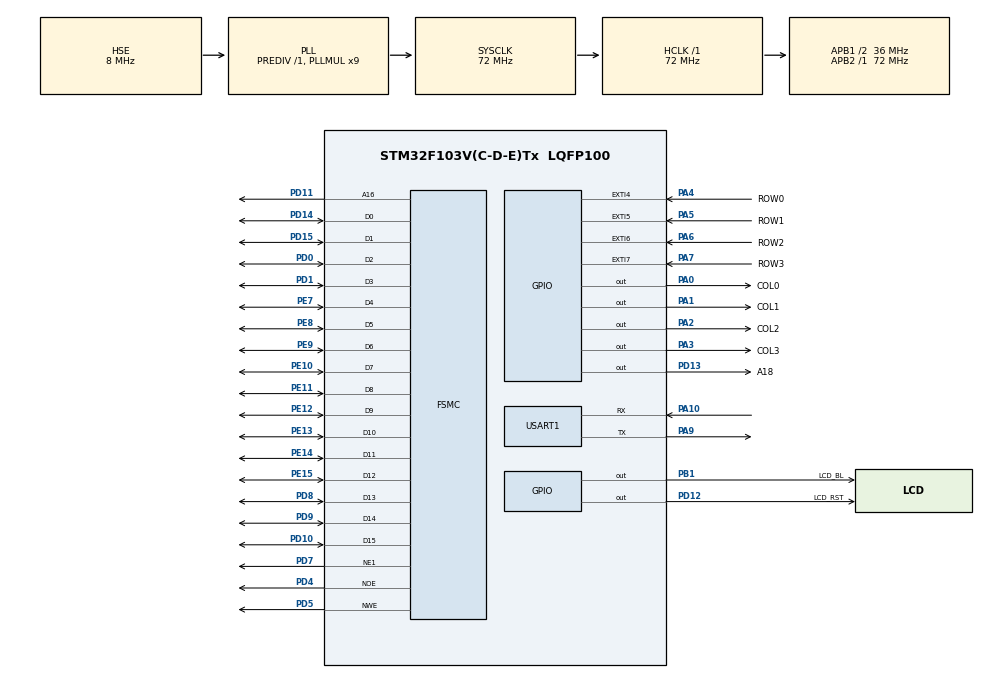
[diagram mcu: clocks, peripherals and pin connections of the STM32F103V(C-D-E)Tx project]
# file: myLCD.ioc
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FREERTOS.Tasks01=defaultTask,24,128,StartDefaultTask,Default,NULL,Dynamic,NULL,NULL
FSMC.AddressSetupTime1=0x02
FSMC.BusTurnAroundDuration1=0x00
FSMC.DataSetupTime1=0x05
Mcu.Family=STM32F1
Mcu.Name=STM32F103V(C-D-E)Tx
Mcu.Package=LQFP100
NVIC.EXTI4_IRQn=true\:5\:0\:false\:false\:true\:true\:true\:true\:true
NVIC.EXTI9_5_IRQn=true\:5\:0\:false\:false\:true\:true\:true\:true\:true
NVIC.FLASH_IRQn=true\:5\:0\:false\:false\:true\:true\:true\:true\:true
NVIC.PVD_IRQn=true\:5\:0\:false\:false\:true\:true\:true\:true\:true
NVIC.PriorityGroup=NVIC_PRIORITYGROUP_4
NVIC.RCC_IRQn=true\:5\:0\:false\:false\:true\:true\:true\:false\:true
NVIC.TIM6_IRQn=true\:15\:0\:false\:false\:true\:false\:false\:true\:true
NVIC.TimeBase=TIM6_IRQn
NVIC.TimeBaseIP=TIM6
NVIC.USART1_IRQn=true\:5\:0\:false\:false\:true\:true\:true\:true\:true
OSC_IN.Mode=HSE-External-Oscillator
OSC_IN.Signal=RCC_OSC_IN
OSC_OUT.Mode=HSE-External-Oscillator
OSC_OUT.Signal=RCC_OSC_OUT
PA0-WKUP.GPIO_Label=COL0
PA0-WKUP.Signal=GPIO_Output
PA1.GPIO_Label=COL1
PA1.Signal=GPIO_Output
PA10.Mode=Asynchronous
PA10.Signal=USART1_RX
PA13.Mode=Serial_Wire
PA13.Signal=SYS_JTMS-SWDIO
PA14.Mode=Serial_Wire
PA14.Signal=SYS_JTCK-SWCLK
PA2.GPIO_Label=COL2
PA2.Signal=GPIO_Output
PA3.GPIO_Label=COL3
PA3.Signal=GPIO_Output
PA4.GPIO_Label=ROW0
PA4.GPIO_PuPd=GPIO_PULLDOWN
PA4.Signal=GPXTI4
PA5.GPIO_Label=ROW1
PA5.GPIO_PuPd=GPIO_PULLDOWN
PA5.Signal=GPXTI5
PA6.GPIO_Label=ROW2
PA6.GPIO_PuPd=GPIO_PULLDOWN
PA6.Signal=GPXTI6
PA7.GPIO_Label=ROW3
PA7.GPIO_PuPd=GPIO_PULLDOWN
PA7.Signal=GPXTI7
PA9.Mode=Asynchronous
PA9.Signal=USART1_TX
PB1.GPIO_Label=LCD_BL
PB1.Signal=GPIO_Output
PD0.Mode=16b-d1
PD0.Signal=FSMC_D2
PD1.Mode=16b-d1
PD1.Signal=FSMC_D3
PD10.Mode=16b-d1
PD10.Signal=FSMC_D15
PD11.Mode=A16_1
PD11.Signal=FSMC_A16
PD12.GPIO_Label=LCD_RST
PD12.Signal=GPIO_Output
PD13.GPIO_Label=A18
PD13.Signal=GPIO_Output
PD14.Mode=16b-d1
PD14.Signal=FSMC_D0
PD15.Mode=16b-d1
PD15.Signal=FSMC_D1
PD4.Mode=Lcd1
PD4.Signal=FSMC_NOE
PD5.Mode=Lcd1
PD5.Signal=FSMC_NWE
PD7.Mode=NorPsramChipSelect1_1
PD7.Signal=FSMC_NE1
PD8.Mode=16b-d1
PD8.Signal=FSMC_D13
PD9.Mode=16b-d1
PD9.Signal=FSMC_D14
PE10.Mode=16b-d1
PE10.Signal=FSMC_D7
PE11.Mode=16b-d1
PE11.Signal=FSMC_D8
PE12.Mode=16b-d1
PE12.Signal=FSMC_D9
PE13.Mode=16b-d1
PE13.Signal=FSMC_D10
PE14.Mode=16b-d1
PE14.Signal=FSMC_D11
PE15.Mode=16b-d1
PE15.Signal=FSMC_D12
PE7.Mode=16b-d1
PE7.Signal=FSMC_D4
PE8.Mode=16b-d1
PE8.Signal=FSMC_D5
PE9.Mode=16b-d1
PE9.Signal=FSMC_D6
ProjectManager.HeapSize=0x200
ProjectManager.StackSize=0x400
ProjectManager.TargetToolchain=MDK-ARM V5.32
RCC.AHBFreq_Value=72000000
RCC.APB1CLKDivider=RCC_HCLK_DIV2
RCC.APB1Freq_Value=36000000
RCC.APB1TimFreq_Value=72000000
RCC.APB2Freq_Value=72000000
RCC.APB2TimFreq_Value=72000000
RCC.HCLKFreq_Value=72000000
RCC.PLLMUL=RCC_PLL_MUL9
RCC.PLLSourceVirtual=RCC_PLLSOURCE_HSE
RCC.SYSCLKFreq_VALUE=72000000
RCC.SYSCLKSource=RCC_SYSCLKSOURCE_PLLCLK
RCC.USBFreq_Value=72000000
USART1.VirtualMode=VM_ASYNC
VP_FREERTOS_VS_CMSIS_V2.Mode=CMSIS_V2
VP_SYS_VS_tim6.Mode=TIM6
board=custom

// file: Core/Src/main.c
/* USER CODE BEGIN Header */
/**
  ******************************************************************************
  * @file           : main.c
  * @brief          : Main program body
  ******************************************************************************
  * @attention
  *
  * Copyright (c) 2024 STMicroelectronics.
  * All rights reserved.
  *
  * This software is licensed under terms that can be found in the LICENSE file
  * in the root directory of this software component.
  * If no LICENSE file comes with this software, it is provided AS-IS.
  *
  ******************************************************************************
  */
/* USER CODE END Header */
#include "main.h"
#include "cmsis_os.h"
#include "usart.h"
#include "gpio.h"
#include "fsmc.h"

/* USER CODE BEGIN Includes */
#include "stm3210x_lcd.h"
#include "stdio.h"
/* USER CODE END Includes */

void SystemClock_Config(void);
void MX_FREERTOS_Init(void);

int main(void)
{

  /* MCU Configuration--------------------------------------------------------*/

  /* Reset of all peripherals, Initializes the Flash interface and the Systick. */
  HAL_Init();

  /* Configure the system clock */
  SystemClock_Config();

  /* Initialize all configured peripherals */
  MX_GPIO_Init();
  MX_FSMC_Init();
  MX_USART1_UART_Init();
  /* USER CODE BEGIN 2 */
 BSP_LCD_Init();
BSP_LCD_SetFont(&Font16);
BSP_LCD_SetBackColor(LCD_COLOR_BLUE);
BSP_LCD_SetTextColor(LCD_COLOR_WHITE);
BSP_LCD_Clear(LCD_COLOR_BLUE);

printf("x size is %d\r\n", BSP_LCD_GetXSize());
printf("y size is %d\r\n", BSP_LCD_GetYSize());

BSP_LCD_DisplayStringAtLine(0, (uint8_t *)"Elevator System");

  /* USER CODE END 2 */

  /* Init scheduler */
  osKernelInitialize();

  /* Call init function for freertos objects (in freertos.c) */
  MX_FREERTOS_Init();

  /* Start scheduler */
  osKernelStart();

  /* We should never get here as control is now taken by the scheduler */
  /* Infinite loop */
  /* USER CODE BEGIN WHILE */
  while (1)
  {

    BSP_LCD_DisplayStringAt(0,100,"Waveshare Open103 test",CENTER_MODE);
//		HAL_Delay(1000);
//		BSP_LCD_Clear(LCD_COLOR_RED);
		BSP_LCD_DisplayStringAt(0,120,"3.2inch LCD",CENTER_MODE);
		HAL_Delay(1000);
		BSP_LCD_Clear(LCD_COLOR_BLUE);

    /* USER CODE END WHILE */

  }
}

void SystemClock_Config(void)
{
  RCC_OscInitTypeDef RCC_OscInitStruct = {0};
  RCC_ClkInitTypeDef RCC_ClkInitStruct = {0};

  /** Initializes the RCC Oscillators according to the specified parameters
  * in the RCC_OscInitTypeDef structure.
  */
  RCC_OscInitStruct.OscillatorType = RCC_OSCILLATORTYPE_HSE;
  RCC_OscInitStruct.HSEState = RCC_HSE_ON;
  RCC_OscInitStruct.HSEPredivValue = RCC_HSE_PREDIV_DIV1;
  RCC_OscInitStruct.HSIState = RCC_HSI_ON;
  RCC_OscInitStruct.PLL.PLLState = RCC_PLL_ON;
  RCC_OscInitStruct.PLL.PLLSource = RCC_PLLSOURCE_HSE;
  RCC_OscInitStruct.PLL.PLLMUL = RCC_PLL_MUL9;
  if (HAL_RCC_OscConfig(&RCC_OscInitStruct) != HAL_OK)
  {
    Error_Handler();
  }

  /** Initializes the CPU, AHB and APB buses clocks
  */
  RCC_ClkInitStruct.ClockType = RCC_CLOCKTYPE_HCLK|RCC_CLOCKTYPE_SYSCLK
                              |RCC_CLOCKTYPE_PCLK1|RCC_CLOCKTYPE_PCLK2;
  RCC_ClkInitStruct.SYSCLKSource = RCC_SYSCLKSOURCE_PLLCLK;
  RCC_ClkInitStruct.AHBCLKDivider = RCC_SYSCLK_DIV1;
  RCC_ClkInitStruct.APB1CLKDivider = RCC_HCLK_DIV2;
  RCC_ClkInitStruct.APB2CLKDivider = RCC_HCLK_DIV1;

  if (HAL_RCC_ClockConfig(&RCC_ClkInitStruct, FLASH_LATENCY_2) != HAL_OK)
  {
    Error_Handler();
  }
}

void HAL_TIM_PeriodElapsedCallback(TIM_HandleTypeDef *htim)
{
  if (htim->Instance == TIM6) {
    HAL_IncTick();
  }
}

void Error_Handler(void)
{
  __disable_irq();
  while (1)
  {
  }
}

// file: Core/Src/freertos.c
/* USER CODE BEGIN Header */
/**
  ******************************************************************************
  * File Name          : freertos.c
  * Description        : Code for FreeRTOS applications
  ******************************************************************************
  */
/* USER CODE END Header */

#include "FreeRTOS.h"
#include "task.h"
#include "main.h"
#include "cmsis_os.h"

/* USER CODE BEGIN Includes */
#include "queue.h"
#include "semphr.h"
#include "usart.h"
#include "gpio.h"
#include <stdio.h>
#include <stdarg.h>
#include <string.h>

#include "stm3210x_lcd.h"

/* USER CODE END Includes */

/* USER CODE BEGIN PTD */

typedef enum
{
    REQ_INTERNAL = 0,       /* 轿厢内部按键：1~4 */
    REQ_EXTERNAL_UP,        /* 外部上行呼叫：1U、2U、3U */
    REQ_EXTERNAL_DOWN       /* 外部下行呼叫：2D、3D、4D */
} RequestType_t;

typedef enum
{
    DIR_DOWN = -1,
    DIR_IDLE = 0,
    DIR_UP = 1
} ElevatorDir_t;

typedef enum
{
    DOOR_CLOSED = 0,
    DOOR_OPEN
} DoorState_t;

typedef struct
{
    uint8_t floor;          /* 1~4 */
    RequestType_t type;
} RequestMsg_t;

typedef struct
{
    uint8_t currentFloor;   /* 当前楼层：1~4 */
    ElevatorDir_t dir;      /* 当前方向 */
    DoorState_t door;       /* 门状态 */

    uint8_t insideReq[5];   /* 内部目标楼层请求 */
    uint8_t upReq[5];       /* 外部上行请求 */
    uint8_t downReq[5];     /* 外部下行请求 */

    uint32_t servedCount;   /* 已服务次数 */
} ElevatorState_t;

/* USER CODE END PTD */

/* USER CODE BEGIN PD */

#define REQUEST_QUEUE_LEN      16
#define UART_RX_QUEUE_LEN      32

#define ELEVATOR_MOVE_TIME_MS  3000
#define DOOR_OPEN_TIME_MS      4000
#define DISPLAY_PERIOD_MS      2000
#define KEY_DEBOUNCE_MS        20
#define KEY_RELEASE_MS         20

/* LCD UI RGB565 colors */
#define UI_BG          ((uint16_t)0x0841)   /* dark blue-gray */
#define UI_HEADER      ((uint16_t)0x001F)   /* blue */
#define UI_PANEL       ((uint16_t)0x2104)   /* dark panel */
#define UI_PANEL2      ((uint16_t)0x3186)
#define UI_WHITE       ((uint16_t)0xFFFF)
#define UI_BLACK       ((uint16_t)0x0000)
#define UI_GREEN       ((uint16_t)0x07E0)
#define UI_RED         ((uint16_t)0xF800)
#define UI_YELLOW      ((uint16_t)0xFFE0)
#define UI_CYAN        ((uint16_t)0x07FF)
#define UI_ORANGE      ((uint16_t)0xFD20)
#define UI_GRAY        ((uint16_t)0x8410)
#define UI_PURPLE      ((uint16_t)0x780F)

/* USER CODE END PD */

/* USER CODE BEGIN Variables */

static TaskHandle_t elevatorTaskHandle  = NULL;
static TaskHandle_t displayTaskHandle   = NULL;
static TaskHandle_t keyTaskHandle       = NULL;
static TaskHandle_t uartParseTaskHandle = NULL;

static QueueHandle_t requestQueueHandle = NULL;  /* 按键/串口解析后的电梯请求 */
static QueueHandle_t uartRxQueueHandle  = NULL;  /* USART1 中断收到的原始字节 */

static SemaphoreHandle_t stateMutexHandle = NULL;
static SemaphoreHandle_t uartMutexHandle  = NULL;

static ElevatorState_t gElevator =
{
    .currentFloor = 1,
    .dir = DIR_IDLE,
    .door = DOOR_CLOSED,
    .insideReq = {0},
    .upReq = {0},
    .downReq = {0},
    .servedCount = 0
};

static uint8_t uartRxByte = 0;
static volatile uint8_t keyScanning = 0;

/* USER CODE END Variables */

/* USER CODE BEGIN FunctionPrototypes */

static void ElevatorTask(void *argument);
static void DisplayTask(void *argument);
static void KeyTask(void *argument);
static void UartParseTask(void *argument);

static void UartPrintf(const char *fmt, ...);

static void Keypad_AllColumnsHigh(void);
static void Keypad_AllColumnsLow(void);
static uint8_t Keypad_Scan(void);
static uint8_t Keypad_AnyRowHigh(void);

static void Elevator_ProcessNewRequests(TickType_t waitTicks);
static void Elevator_AddRequest(const RequestMsg_t *msg);
static void Elevator_DelayWithInput(uint32_t ms);
static void Elevator_OpenDoorAndServe(void);
static void Elevator_MoveOneFloor(ElevatorDir_t dir);

static uint8_t Elevator_HasAnyRequestLocked(void);
static uint8_t Elevator_HasRequestAboveLocked(void);
static uint8_t Elevator_HasRequestBelowLocked(void);
static uint8_t Elevator_FloorHasAnyRequestLocked(uint8_t floor);
static uint8_t Elevator_NeedStopAtCurrentFloorLocked(void);
static void Elevator_DecideDirectionLocked(void);

static const char *DirToStr(ElevatorDir_t dir);
static const char *DoorToStr(DoorState_t door);
static const char *ReqTypeToStr(RequestType_t type);
static void Display_PrintState(void);

/* USER CODE END FunctionPrototypes */

void MX_FREERTOS_Init(void);

void MX_FREERTOS_Init(void)
{
  /* USER CODE BEGIN Init */

    BaseType_t ret;

    requestQueueHandle = xQueueCreate(REQUEST_QUEUE_LEN, sizeof(RequestMsg_t));
    uartRxQueueHandle  = xQueueCreate(UART_RX_QUEUE_LEN, sizeof(uint8_t));

    stateMutexHandle = xSemaphoreCreateMutex();
    uartMutexHandle  = xSemaphoreCreateMutex();

    if (requestQueueHandle == NULL)
        printf("requestQueue create FAIL\r\n");
    else
        printf("requestQueue create OK\r\n");

    if (uartRxQueueHandle == NULL)
        printf("uartRxQueue create FAIL\r\n");
    else
        printf("uartRxQueue create OK\r\n");

    if (stateMutexHandle == NULL)
        printf("stateMutex create FAIL\r\n");
    else
        printf("stateMutex create OK\r\n");

    if (uartMutexHandle == NULL)
        printf("uartMutex create FAIL\r\n");
    else
        printf("uartMutex create OK\r\n");

    Keypad_AllColumnsHigh();

    ret = xTaskCreate(ElevatorTask,
                      "Elevator",
                      384,
                      NULL,
                      tskIDLE_PRIORITY + 3,
                      &elevatorTaskHandle);

    if (ret == pdPASS)
        printf("ElevatorTask create OK\r\n");
    else
        printf("ElevatorTask create FAIL\r\n");

    ret = xTaskCreate(UartParseTask,
                      "UartParse",
                      256,
                      NULL,
                      tskIDLE_PRIORITY + 2,
                      &uartParseTaskHandle);

    if (ret == pdPASS)
        printf("UartParseTask create OK\r\n");
    else
        printf("UartParseTask create FAIL\r\n");

    ret = xTaskCreate(KeyTask,
                      "KeyInput",
                      256,
                      NULL,
                      tskIDLE_PRIORITY + 2,
                      &keyTaskHandle);

    if (ret == pdPASS)
        printf("KeyTask create OK\r\n");
    else
        printf("KeyTask create FAIL\r\n");

    ret = xTaskCreate(DisplayTask,
                      "Display",
                      512,
                      NULL,
                      tskIDLE_PRIORITY + 1,
                      &displayTaskHandle);

    if (ret == pdPASS)
        printf("DisplayTask create OK\r\n");
    else
        printf("DisplayTask create FAIL\r\n");

    if (HAL_UART_Receive_IT(&huart1, &uartRxByte, 1) == HAL_OK)
    {
        printf("USART1 RX interrupt start OK\r\n");
    }
    else
    {
        printf("USART1 RX interrupt start ERROR\r\n");
    }

  /* USER CODE END Init */
}

/* USER CODE BEGIN Application */

/* ========================= 基础打印函数 ========================= */

static void UartPrintf(const char *fmt, ...)
{
    va_list args;

    if (uartMutexHandle != NULL)
    {
        xSemaphoreTake(uartMutexHandle, portMAX_DELAY);
    }

    va_start(args, fmt);
    vprintf(fmt, args);
    va_end(args);

    if (uartMutexHandle != NULL)
    {
        xSemaphoreGive(uartMutexHandle);
    }
}

static const char *DirToStr(ElevatorDir_t dir)
{
    switch (dir)
    {
        case DIR_UP:   return "UP";
        case DIR_DOWN: return "DOWN";
        default:       return "IDLE";
    }
}

static const char *DoorToStr(DoorState_t door)
{
    return (door == DOOR_OPEN) ? "OPEN" : "CLOSED";
}

static const char *ReqTypeToStr(RequestType_t type)
{
    switch (type)
    {
        case REQ_INTERNAL:      return "IN";
        case REQ_EXTERNAL_UP:   return "UP";
        case REQ_EXTERNAL_DOWN: return "DOWN";
        default:                return "UNKNOWN";
    }
}

/* ========================= 矩阵键盘部分 ========================= */

static void Keypad_AllColumnsHigh(void)
{
    HAL_GPIO_WritePin(COL0_GPIO_Port, COL0_Pin, GPIO_PIN_SET);
    HAL_GPIO_WritePin(COL1_GPIO_Port, COL1_Pin, GPIO_PIN_SET);
    HAL_GPIO_WritePin(COL2_GPIO_Port, COL2_Pin, GPIO_PIN_SET);
    HAL_GPIO_WritePin(COL3_GPIO_Port, COL3_Pin, GPIO_PIN_SET);
}

static void Keypad_AllColumnsLow(void)
{
    HAL_GPIO_WritePin(COL0_GPIO_Port, COL0_Pin, GPIO_PIN_RESET);
    HAL_GPIO_WritePin(COL1_GPIO_Port, COL1_Pin, GPIO_PIN_RESET);
    HAL_GPIO_WritePin(COL2_GPIO_Port, COL2_Pin, GPIO_PIN_RESET);
    HAL_GPIO_WritePin(COL3_GPIO_Port, COL3_Pin, GPIO_PIN_RESET);
}

static void Keypad_SetColumn(uint8_t col, GPIO_PinState state)
{
    switch (col)
    {
        case 0: HAL_GPIO_WritePin(COL0_GPIO_Port, COL0_Pin, state); break;
        case 1: HAL_GPIO_WritePin(COL1_GPIO_Port, COL1_Pin, state); break;
        case 2: HAL_GPIO_WritePin(COL2_GPIO_Port, COL2_Pin, state); break;
        case 3: HAL_GPIO_WritePin(COL3_GPIO_Port, COL3_Pin, state); break;
        default: break;
    }
}

static uint8_t Keypad_ReadRow(uint8_t row)
{
    switch (row)
    {
        case 0: return (HAL_GPIO_ReadPin(ROW0_GPIO_Port, ROW0_Pin) == GPIO_PIN_SET);
        case 1: return (HAL_GPIO_ReadPin(ROW1_GPIO_Port, ROW1_Pin) == GPIO_PIN_SET);
        case 2: return (HAL_GPIO_ReadPin(ROW2_GPIO_Port, ROW2_Pin) == GPIO_PIN_SET);
        case 3: return (HAL_GPIO_ReadPin(ROW3_GPIO_Port, ROW3_Pin) == GPIO_PIN_SET);
        default: return 0;
    }
}

static uint8_t Keypad_AnyRowHigh(void)
{
    if (HAL_GPIO_ReadPin(ROW0_GPIO_Port, ROW0_Pin) == GPIO_PIN_SET) return 1;
    if (HAL_GPIO_ReadPin(ROW1_GPIO_Port, ROW1_Pin) == GPIO_PIN_SET) return 1;
    if (HAL_GPIO_ReadPin(ROW2_GPIO_Port, ROW2_Pin) == GPIO_PIN_SET) return 1;
    if (HAL_GPIO_ReadPin(ROW3_GPIO_Port, ROW3_Pin) == GPIO_PIN_SET) return 1;
    return 0;
}

static uint8_t Keypad_Scan(void)
{
    static const uint8_t keyMap[4][4] =
    {
        {1, 2, 3, 10},
        {4, 5, 6, 11},
        {7, 8, 9, 12},
        {14, 0, 15, 13}
    };

    uint8_t row;
    uint8_t col;
    uint8_t key = 0;

    keyScanning = 1;

    Keypad_AllColumnsLow();

    for (col = 0; col < 4; col++)
    {
        Keypad_SetColumn(col, GPIO_PIN_SET);

        for (volatile uint32_t d = 0; d < 2000; d++)
        {
            __NOP();
        }

        for (row = 0; row < 4; row++)
        {
            if (Keypad_ReadRow(row))
            {
                key = keyMap[row][col];
                goto scan_end;
            }
        }

        Keypad_SetColumn(col, GPIO_PIN_RESET);
    }

scan_end:
    Keypad_AllColumnsHigh();
    keyScanning = 0;

    return key;
}

/* ========================= 请求处理部分 ========================= */

static void Elevator_AddRequest(const RequestMsg_t *msg)
{
    uint8_t valid = 1;

    if (msg == NULL)
    {
        return;
    }

    if (msg->floor < 1 || msg->floor > 4)
    {
        valid = 0;
    }

    if (msg->type == REQ_EXTERNAL_DOWN && msg->floor == 1)
    {
        valid = 0;
    }

    if (msg->type == REQ_EXTERNAL_UP && msg->floor == 4)
    {
        valid = 0;
    }

    if (valid == 0)
    {
        UartPrintf("[INVALID] floor=%d type=%s\r\n",
                   msg->floor,
                   ReqTypeToStr(msg->type));
        return;
    }

    xSemaphoreTake(stateMutexHandle, portMAX_DELAY);

    if (msg->type == REQ_INTERNAL)
    {
        gElevator.insideReq[msg->floor] = 1;
    }
    else if (msg->type == REQ_EXTERNAL_UP)
    {
        gElevator.upReq[msg->floor] = 1;
    }
    else if (msg->type == REQ_EXTERNAL_DOWN)
    {
        gElevator.downReq[msg->floor] = 1;
    }

    xSemaphoreGive(stateMutexHandle);

    UartPrintf("[REQUEST] floor=%d type=%s\r\n",
               msg->floor,
               ReqTypeToStr(msg->type));
}

static void Elevator_ProcessNewRequests(TickType_t waitTicks)
{
    RequestMsg_t msg;

    if (requestQueueHandle == NULL)
    {
        return;
    }

    if (xQueueReceive(requestQueueHandle, &msg, waitTicks) == pdPASS)
    {
        Elevator_AddRequest(&msg);

        while (xQueueReceive(requestQueueHandle, &msg, 0) == pdPASS)
        {
            Elevator_AddRequest(&msg);
        }
    }
}

static uint8_t Elevator_FloorHasAnyRequestLocked(uint8_t floor)
{
    if (floor < 1 || floor > 4)
    {
        return 0;
    }

    if (gElevator.insideReq[floor]) return 1;
    if (gElevator.upReq[floor])     return 1;
    if (gElevator.downReq[floor])   return 1;

    return 0;
}

static uint8_t Elevator_HasAnyRequestLocked(void)
{
    uint8_t i;

    for (i = 1; i <= 4; i++)
    {
        if (Elevator_FloorHasAnyRequestLocked(i))
        {
            return 1;
        }
    }

    return 0;
}

static uint8_t Elevator_HasRequestAboveLocked(void)
{
    uint8_t i;

    for (i = gElevator.currentFloor + 1; i <= 4; i++)
    {
        if (Elevator_FloorHasAnyRequestLocked(i))
        {
            return 1;
        }
    }

    return 0;
}

static uint8_t Elevator_HasRequestBelowLocked(void)
{
    int8_t i;

    for (i = (int8_t)gElevator.currentFloor - 1; i >= 1; i--)
    {
        if (Elevator_FloorHasAnyRequestLocked((uint8_t)i))
        {
            return 1;
        }
    }

    return 0;
}

static uint8_t Elevator_NeedStopAtCurrentFloorLocked(void)
{
    uint8_t f = gElevator.currentFloor;

    if (gElevator.insideReq[f])
    {
        return 1;
    }

    if (gElevator.dir == DIR_IDLE)
    {
        return Elevator_FloorHasAnyRequestLocked(f);
    }

    if (gElevator.dir == DIR_UP)
    {
        if (gElevator.upReq[f])
        {
            return 1;
        }

        if (!Elevator_HasRequestAboveLocked() && gElevator.downReq[f])
        {
            return 1;
        }
    }

    if (gElevator.dir == DIR_DOWN)
    {
        if (gElevator.downReq[f])
        {
            return 1;
        }

        if (!Elevator_HasRequestBelowLocked() && gElevator.upReq[f])
        {
            return 1;
        }
    }

    return 0;
}

static void Elevator_DecideDirectionLocked(void)
{
    if (!Elevator_HasAnyRequestLocked())
    {
        gElevator.dir = DIR_IDLE;
        return;
    }

    if (gElevator.dir == DIR_IDLE)
    {
        if (Elevator_FloorHasAnyRequestLocked(gElevator.currentFloor))
        {
            gElevator.dir = DIR_IDLE;
        }
        else if (Elevator_HasRequestAboveLocked())
        {
            gElevator.dir = DIR_UP;
        }
        else if (Elevator_HasRequestBelowLocked())
        {
            gElevator.dir = DIR_DOWN;
        }
        return;
    }

    if (gElevator.dir == DIR_UP)
    {
        if (Elevator_HasRequestAboveLocked())
        {
            gElevator.dir = DIR_UP;
        }
        else if (Elevator_FloorHasAnyRequestLocked(gElevator.currentFloor))
        {
            gElevator.dir = DIR_UP;
        }
        else if (Elevator_HasRequestBelowLocked())
        {
            gElevator.dir = DIR_DOWN;
        }
        else
        {
            gElevator.dir = DIR_IDLE;
        }
        return;
    }

    if (gElevator.dir == DIR_DOWN)
    {
        if (Elevator_HasRequestBelowLocked())
        {
            gElevator.dir = DIR_DOWN;
        }
        else if (Elevator_FloorHasAnyRequestLocked(gElevator.currentFloor))
        {
            gElevator.dir = DIR_DOWN;
        }
        else if (Elevator_HasRequestAboveLocked())
        {
            gElevator.dir = DIR_UP;
        }
        else
        {
            gElevator.dir = DIR_IDLE;
        }
        return;
    }
}

static void Elevator_DelayWithInput(uint32_t ms)
{
    uint32_t elapsed = 0;
    const uint32_t step = 50;

    while (elapsed < ms)
    {
        uint32_t delay = step;

        if ((ms - elapsed) < step)
        {
            delay = ms - elapsed;
        }

        vTaskDelay(pdMS_TO_TICKS(delay));
        elapsed += delay;

        Elevator_ProcessNewRequests(0);
    }
}

static void Elevator_OpenDoorAndServe(void)
{
    uint8_t f;

    xSemaphoreTake(stateMutexHandle, portMAX_DELAY);

    f = gElevator.currentFloor;
    gElevator.door = DOOR_OPEN;

    gElevator.insideReq[f] = 0;
    gElevator.upReq[f] = 0;
    gElevator.downReq[f] = 0;

    gElevator.servedCount++;

    xSemaphoreGive(stateMutexHandle);

    UartPrintf("[ARRIVE] floor=%d, door open 2s\r\n", f);

    Elevator_DelayWithInput(DOOR_OPEN_TIME_MS);

    xSemaphoreTake(stateMutexHandle, portMAX_DELAY);
    gElevator.door = DOOR_CLOSED;
    xSemaphoreGive(stateMutexHandle);

    UartPrintf("[DOOR] floor=%d, door closed\r\n", f);
}

static void Elevator_MoveOneFloor(ElevatorDir_t dir)
{
    uint8_t fromFloor;
    uint8_t toFloor;

    xSemaphoreTake(stateMutexHandle, portMAX_DELAY);

    fromFloor = gElevator.currentFloor;

    if (dir == DIR_UP && gElevator.currentFloor < 4)
    {
        toFloor = gElevator.currentFloor + 1;
        gElevator.dir = DIR_UP;
    }
    else if (dir == DIR_DOWN && gElevator.currentFloor > 1)
    {
        toFloor = gElevator.currentFloor - 1;
        gElevator.dir = DIR_DOWN;
    }
    else
    {
        gElevator.dir = DIR_IDLE;
        xSemaphoreGive(stateMutexHandle);
        return;
    }

    xSemaphoreGive(stateMutexHandle);

    UartPrintf("[MOVE] %dF -> %dF, dir=%s\r\n",
               fromFloor,
               toFloor,
               DirToStr(dir));

    Elevator_DelayWithInput(ELEVATOR_MOVE_TIME_MS);

    xSemaphoreTake(stateMutexHandle, portMAX_DELAY);
    gElevator.currentFloor = toFloor;
    xSemaphoreGive(stateMutexHandle);
}

/* ========================= 任务函数 ========================= */

static void ElevatorTask(void *argument)
{
    ElevatorDir_t dir;
    uint8_t hasAny;

    UartPrintf("\r\n========== Elevator FreeRTOS Demo ==========\r\n");
    UartPrintf("Internal key: press 1~4 on keypad\r\n");
    UartPrintf("External call: send ASCII 1U, 2U, 2D, 3U, 3D, 4D\r\n");
    UartPrintf("USART: 115200, 8N1, no HEX mode\r\n");
    UartPrintf("Start at 1F, door closed\r\n");
    UartPrintf("===========================================\r\n\r\n");

    for (;;)
    {
        Elevator_ProcessNewRequests(0);

        xSemaphoreTake(stateMutexHandle, portMAX_DELAY);

        if (Elevator_NeedStopAtCurrentFloorLocked())
        {
            xSemaphoreGive(stateMutexHandle);
            Elevator_OpenDoorAndServe();
            continue;
        }

        Elevator_DecideDirectionLocked();

        dir = gElevator.dir;
        hasAny = Elevator_HasAnyRequestLocked();

        xSemaphoreGive(stateMutexHandle);

        if (!hasAny || dir == DIR_IDLE)
        {
            Elevator_ProcessNewRequests(pdMS_TO_TICKS(100));
            continue;
        }

        Elevator_MoveOneFloor(dir);
    }
}

static void DisplayTask(void *argument)
{
    for (;;)
    {
        Display_PrintState();
        vTaskDelay(pdMS_TO_TICKS(DISPLAY_PERIOD_MS));
    }
}

static void KeyTask(void *argument)
{
    uint8_t key;
    RequestMsg_t msg;

    for (;;)
    {
        ulTaskNotifyTake(pdTRUE, portMAX_DELAY);

        vTaskDelay(pdMS_TO_TICKS(KEY_DEBOUNCE_MS));

        key = Keypad_Scan();

        if (key >= 1 && key <= 4)
        {
            msg.floor = key;
            msg.type = REQ_INTERNAL;

            xQueueSend(requestQueueHandle, &msg, portMAX_DELAY);
        }

        while (Keypad_AnyRowHigh())
        {
            vTaskDelay(pdMS_TO_TICKS(KEY_RELEASE_MS));
        }

        while (ulTaskNotifyTake(pdTRUE, 0) > 0)
        {
            ;
        }
    }
}

static void UartParseTask(void *argument)
{
    uint8_t ch;
    uint8_t floor = 0;
    RequestMsg_t msg;

    for (;;)
    {
        if (xQueueReceive(uartRxQueueHandle, &ch, portMAX_DELAY) != pdPASS)
        {
            continue;
        }

        if (ch >= 'a' && ch <= 'z')
        {
            ch = ch - 'a' + 'A';
        }

        if (ch == '\r' || ch == '\n' || ch == ' ')
        {
            continue;
        }

        if (floor == 0)
        {
            if (ch >= '1' && ch <= '4')
            {
                floor = ch - '0';
            }
            else
            {
                UartPrintf("[UART] invalid floor char: %c\r\n", ch);
            }
        }
        else
        {
            if (ch == 'U')
            {
                msg.floor = floor;
                msg.type = REQ_EXTERNAL_UP;
                xQueueSend(requestQueueHandle, &msg, portMAX_DELAY);
            }
            else if (ch == 'D')
            {
                msg.floor = floor;
                msg.type = REQ_EXTERNAL_DOWN;
                xQueueSend(requestQueueHandle, &msg, portMAX_DELAY);
            }
            else
            {
                UartPrintf("[UART] invalid direction char: %c\r\n", ch);
            }

            floor = 0;
        }
    }
}

/* ========================= 状态显示 ========================= */

static void PrintReqArray(const char *name, const uint8_t req[5])
{
    uint8_t i;
    uint8_t empty = 1;

    printf("%s:", name);

    for (i = 1; i <= 4; i++)
    {
        if (req[i])
        {
            printf(" %dF", i);
            empty = 0;
        }
    }

    if (empty)
    {
        printf(" none");
    }
}

static void LCD_FillArea(uint16_t x, uint16_t y, uint16_t w, uint16_t h, uint16_t color)
{
    BSP_LCD_SetTextColor(color);
    BSP_LCD_FillRect(x, y, w, h);
}

static void LCD_ShowText(uint16_t x,
                         uint16_t y,
                         sFONT *font,
                         uint16_t textColor,
                         uint16_t backColor,
                         const char *text)
{
    BSP_LCD_SetFont(font);
    BSP_LCD_SetTextColor(textColor);
    BSP_LCD_SetBackColor(backColor);
    BSP_LCD_DisplayStringAt(x, y, (uint8_t *)text, LEFT_MODE);
}

static void LCD_ShowTextCenter(uint16_t x,
                               uint16_t y,
                               uint16_t w,
                               sFONT *font,
                               uint16_t textColor,
                               uint16_t backColor,
                               const char *text)
{
    uint16_t textWidth;
    uint16_t xpos;

    BSP_LCD_SetFont(font);

    textWidth = strlen(text) * font->Width;

    if (w > textWidth)
        xpos = x + (w - textWidth) / 2;
    else
        xpos = x;

    BSP_LCD_SetTextColor(textColor);
    BSP_LCD_SetBackColor(backColor);
    BSP_LCD_DisplayStringAt(xpos, y, (uint8_t *)text, LEFT_MODE);
}

static void LCD_DrawBox(uint16_t x,
                        uint16_t y,
                        uint16_t w,
                        uint16_t h,
                        uint16_t bgColor,
                        uint16_t borderColor)
{
    LCD_FillArea(x, y, w, h, bgColor);

    BSP_LCD_SetTextColor(borderColor);
    BSP_LCD_DrawRect(x, y, w, h);
}

static void LCD_DrawBaseUI(void)
{
    BSP_LCD_SetFont(&Font16);
    BSP_LCD_SetBackColor(UI_BG);
    BSP_LCD_SetTextColor(UI_WHITE);
    BSP_LCD_Clear(UI_BG);

    /* Header */
    LCD_FillArea(0, 0, 320, 30, UI_HEADER);
    LCD_ShowTextCenter(0, 7, 320, &Font16, UI_WHITE, UI_HEADER, "Elevator Control System");

    /* Section title */
    LCD_ShowText(10, 112, &Font16, UI_YELLOW, UI_BG, "Pending Requests");

    /* Bottom bar */
    LCD_FillArea(0, 222, 320, 18, UI_PANEL);
}

static uint16_t LCD_DirColor(ElevatorDir_t dir)
{
    if (dir == DIR_UP)
        return UI_GREEN;
    else if (dir == DIR_DOWN)
        return UI_ORANGE;
    else
        return UI_GRAY;
}

static uint16_t LCD_DoorColor(DoorState_t door)
{
    if (door == DOOR_OPEN)
        return UI_GREEN;
    else
        return UI_RED;
}

static void LCD_DrawInfoCard(uint16_t x,
                             uint16_t y,
                             uint16_t w,
                             uint16_t h,
                             const char *title,
                             const char *value,
                             uint16_t valueColor,
                             uint8_t bigFont)
{
    LCD_DrawBox(x, y, w, h, UI_PANEL2, UI_CYAN);

    LCD_ShowTextCenter(x, y + 6, w, &Font12, UI_WHITE, UI_PANEL2, title);

    if (bigFont)
    {
        LCD_ShowTextCenter(x, y + 28, w, &Font24, valueColor, UI_PANEL2, value);
    }
    else
    {
        LCD_ShowTextCenter(x, y + 35, w, &Font16, valueColor, UI_PANEL2, value);
    }
}

static void MakeReqValue(char *buf, uint16_t len, const uint8_t req[5])
{
    uint8_t i;
    uint8_t empty = 1;
    int n = 0;

    if (len == 0)
        return;

    buf[0] = '\0';

    for (i = 1; i <= 4; i++)
    {
        if (req[i])
        {
            n += snprintf(&buf[n], len - n, "%dF ", i);
            empty = 0;

            if (n >= len)
                break;
        }
    }

    if (empty)
    {
        snprintf(buf, len, "none");
    }
}

static void LCD_DrawRequestRow(uint16_t y,
                               const char *label,
                               uint16_t labelColor,
                               const char *value)
{
    uint16_t labelTextColor;

    LCD_FillArea(8, y, 304, 25, UI_PANEL);

    LCD_FillArea(8, y, 58, 25, labelColor);

    if (labelColor == UI_YELLOW || labelColor == UI_GREEN || labelColor == UI_CYAN)
        labelTextColor = UI_BLACK;
    else
        labelTextColor = UI_WHITE;

    LCD_ShowTextCenter(8, y + 5, 58, &Font16, labelTextColor, labelColor, label);
    LCD_ShowText(78, y + 6, &Font12, UI_WHITE, UI_PANEL, value);

    BSP_LCD_SetTextColor(UI_GRAY);
    BSP_LCD_DrawRect(8, y, 304, 25);
}

static void LCD_ShowElevatorState(const ElevatorState_t *s)
{
    static uint8_t uiInited = 0;
    char line[40];
    char reqLine[40];

    if (uiInited == 0)
    {
        LCD_DrawBaseUI();
        uiInited = 1;
    }

    /* Top three info cards */
    snprintf(line, sizeof(line), "%dF", s->currentFloor);
    LCD_DrawInfoCard(8, 38, 96, 66, "FLOOR", line, UI_CYAN, 1);

    snprintf(line, sizeof(line), "%s", DirToStr(s->dir));
    LCD_DrawInfoCard(112, 38, 96, 66, "DIR", line, LCD_DirColor(s->dir), 0);

    snprintf(line, sizeof(line), "%s", DoorToStr(s->door));
    LCD_DrawInfoCard(216, 38, 96, 66, "DOOR", line, LCD_DoorColor(s->door), 0);

    /* Pending request rows */
    MakeReqValue(reqLine, sizeof(reqLine), s->insideReq);
    LCD_DrawRequestRow(134, "IN", UI_PURPLE, reqLine);

    MakeReqValue(reqLine, sizeof(reqLine), s->upReq);
    LCD_DrawRequestRow(164, "UP", UI_GREEN, reqLine);

    MakeReqValue(reqLine, sizeof(reqLine), s->downReq);
    LCD_DrawRequestRow(194, "DOWN", UI_ORANGE, reqLine);

    /* Bottom information */
    LCD_FillArea(0, 222, 320, 18, UI_PANEL);
    snprintf(line, sizeof(line), "Served:%lu   USART:115200",
             (unsigned long)s->servedCount);
    LCD_ShowText(10, 225, &Font12, UI_YELLOW, UI_PANEL, line);
}

static void Display_PrintState(void)
{
    ElevatorState_t s;

    xSemaphoreTake(stateMutexHandle, portMAX_DELAY);
    memcpy(&s, &gElevator, sizeof(ElevatorState_t));
    xSemaphoreGive(stateMutexHandle);

    xSemaphoreTake(uartMutexHandle, portMAX_DELAY);

    printf("\r\n[STATE] floor=%dF, dir=%s, door=%s, served=%lu\r\n",
       s.currentFloor,
       DirToStr(s.dir),
       DoorToStr(s.door),
       (unsigned long)s.servedCount);

    printf("        ");
    PrintReqArray("IN", s.insideReq);
    printf(" | ");
    PrintReqArray("UP", s.upReq);
    printf(" | ");
    PrintReqArray("DOWN", s.downReq);
    printf("\r\n");

    xSemaphoreGive(uartMutexHandle);

    LCD_ShowElevatorState(&s);
}
/* ========================= HAL 中断回调 ========================= */

void HAL_UART_RxCpltCallback(UART_HandleTypeDef *huart)
{
    BaseType_t xHigherPriorityTaskWoken = pdFALSE;
    uint8_t data;

    if (huart->Instance == USART1)
    {
        data = uartRxByte;

        /*
         * 调试用：收到什么就回显什么。
         * 如果不想回显，可以把这几行注释掉。
         */
        if ((USART1->SR & USART_SR_TXE) != 0)
        {
            USART1->DR = data;
        }

        /*
         * 把收到的字节发送到队列，由 UartParseTask 解析。
         */
        if (uartRxQueueHandle != NULL)
        {
            xQueueSendFromISR(uartRxQueueHandle,
                              &data,
                              &xHigherPriorityTaskWoken);
        }

        /*
         * 重新开启下一次 1 字节接收中断。
         * 这句必须有，否则只能接收一次。
         */
        HAL_UART_Receive_IT(&huart1, &uartRxByte, 1);

        portYIELD_FROM_ISR(xHigherPriorityTaskWoken);
    }
}

/*
 * USART 错误回调：
 * 防止串口溢出或异常后不再接收。
 */
void HAL_UART_ErrorCallback(UART_HandleTypeDef *huart)
{
    if (huart->Instance == USART1)
    {
        HAL_UART_Receive_IT(&huart1, &uartRxByte, 1);
    }
}

/*
 * 矩阵键盘行中断回调：
 * EXTI 中断里不扫描键盘，只通知 KeyTask。
 */

void HAL_GPIO_EXTI_Callback(uint16_t GPIO_Pin)
{
    BaseType_t xHigherPriorityTaskWoken = pdFALSE;

    if (GPIO_Pin == ROW0_Pin ||
        GPIO_Pin == ROW1_Pin ||
        GPIO_Pin == ROW2_Pin ||
        GPIO_Pin == ROW3_Pin)
    {
        if (!keyScanning && keyTaskHandle != NULL)
        {
            vTaskNotifyGiveFromISR(keyTaskHandle,
                                   &xHigherPriorityTaskWoken);

            portYIELD_FROM_ISR(xHigherPriorityTaskWoken);
        }
    }
}

/* USER CODE END Application */
